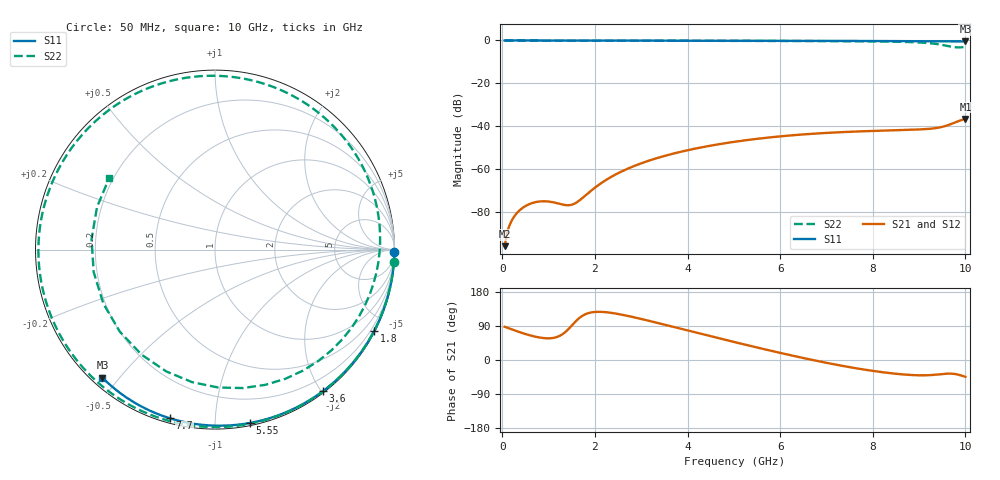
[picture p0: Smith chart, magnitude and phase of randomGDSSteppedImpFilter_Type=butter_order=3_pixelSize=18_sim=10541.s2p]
! freq	dB(S11)	phase(S11)	dB(S12)	phase(S12)
!  dB(S21)	phase(S21)	dB(S22)	phase(S22)
!S-par simulation data
#  GHz  S  DB  R 50
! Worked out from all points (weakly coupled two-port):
!   200 points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, 50 MHz to 10 GHz, reference 50 ohm
!   highest |S21| = -36.68 dB at 10 GHz (marker M1); lowest = -96.1 dB at 50 MHz (marker M2)
!   lowest |S11| = -0.4 dB at 10 GHz (marker M3), VSWR 39.13, Z = 1.54 - j22.6 ohm
!   |S11| at or under -10 dB: nowhere
!   |S22| runs from -3.3 to 0.0 dB; largest |S21 - S12| = 0
!   S11 on the Smith chart (normalised r, x): 50 MHz: open; 1.8 GHz: 0.04, -4.18; 3.6 GHz: 0.02, -2.02; 5.55 GHz: 0.02, -1.22; 7.7 GHz: 0.02, -0.77; 10 GHz: 0.03, -0.45
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0.05  -0.00 -0.8  -96.14 87.8  -96.14 87.8  -0.00 -3.9
0.4  -0.01 -6.1  -78.89 72.5  -78.89 72.5  -0.04 -30.3
0.9  -0.02 -13.6  -75.16 57.8  -75.16 57.8  -0.08 -64.9
1.45  -0.03 -21.7  -76.99 84.3  -76.99 84.3  -0.10 -97.2
1.75  -0.03 -26.2  -73.28 118.1  -73.28 118.1  -0.11 -112.3
1.8  -0.03 -26.9  -72.36 121.1  -72.36 121.1  -0.11 -114.6
2.55  -0.05 -37.8  -61.51 120.3  -61.51 120.3  -0.12 -145.8
3.4  -0.07 -49.8  -54.60 96.4  -54.60 96.4  -0.14 -174.6
3.6  -0.07 -52.6  -53.40 90.3  -53.40 90.3  -0.14 179.2
5.05  -0.11 -72.1  -47.25 46.2  -47.25 46.2  -0.19 137.4
5.55  -0.13 -78.6  -45.85 31.6  -45.85 31.6  -0.21 123.1
6.7  -0.18 -93.0  -43.60 0.0  -43.60 0.0  -0.28 88.4
7.7  -0.24 -104.9  -42.51 -23.0  -42.51 -23.0  -0.39 53.4
8.35  -0.29 -112.5  -42.05 -34.3  -42.05 -34.3  -0.53 25.1
8.75  -0.32 -117.1  -41.79 -39.0  -41.79 -39.0  -0.72 2.4
9.05  -0.35 -120.6  -41.54 -40.4  -41.54 -40.4  -1.00 -20.3
9.3  -0.37 -123.4  -41.13 -39.4  -41.13 -39.4  -1.45 -47.1
9.5  -0.39 -125.7  -40.39 -37.1  -40.39 -37.1  -2.08 -78.7
9.65  -0.41 -127.3  -39.39 -35.9  -39.39 -35.9  -2.72 -111.8
9.8  -0.42 -129.0  -38.11 -37.5  -38.11 -37.5  -3.21 -154.1
9.9  -0.43 -130.2  -37.32 -40.5  -37.32 -40.5  -3.22 175.2
10  -0.44 -131.3  -36.68 -44.3  -36.68 -44.3  -2.96 146.0
